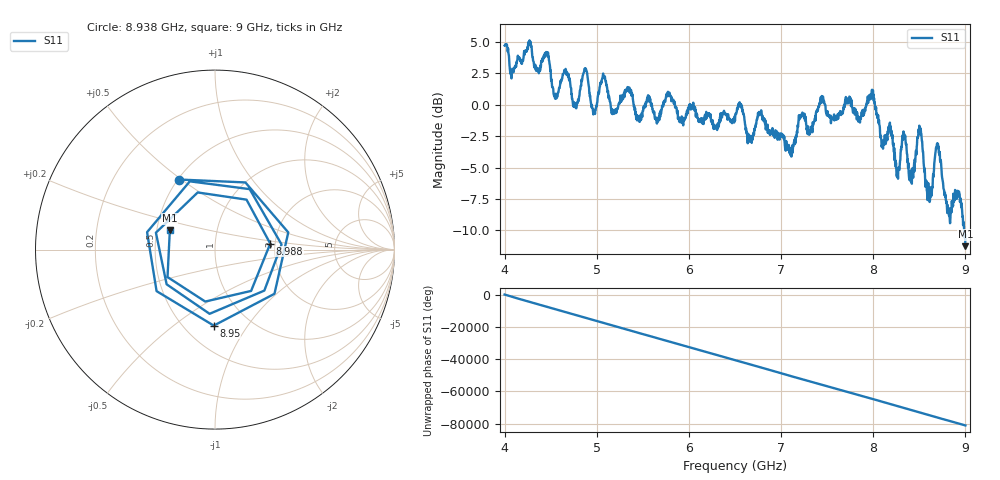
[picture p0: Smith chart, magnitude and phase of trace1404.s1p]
! Created with skrf 1.8.0 (http://scikit-rf.org).
# Hz S RI R 50.0
!freq ReS11 ImS11
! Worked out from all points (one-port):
!   1601 points, 4 GHz to 9 GHz, reference 50 ohm
!   lowest |S11| = -11.3 dB at 9 GHz (marker M1), VSWR 1.75, Z = 29.3 + j6.82 ohm
!   |S11| at or under -10 dB: 8.98661 GHz to end of sweep
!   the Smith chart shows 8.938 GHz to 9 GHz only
!   S11 on the Smith chart (normalised r, x): 8.938 GHz: 0.50, +0.49; 8.95 GHz: 0.69, -0.71; 8.988 GHz: 1.88, +0.14; 9 GHz: 0.59, +0.14
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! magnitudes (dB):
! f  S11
! 4 GHz  4.7
! 4.081 GHz  2.6
! 4.269 GHz  5.1
! 4.466 GHz  4.1
! 4.55 GHz  0.5
! 4.625 GHz  2.1
! 4.762 GHz  -0.1
! 4.872 GHz  2.9
! 4.962 GHz  -0.8
! 5.25 GHz  0.1
! 5.875 GHz  -0.7
! 6.5 GHz  -1.3
! 7.125 GHz  -3.8
! 7.219 GHz  -0.8
! 7.75 GHz  0.5
! 7.988 GHz  1.2
! 8.262 GHz  -5.7
! 8.331 GHz  -2.3
! 8.375 GHz  -4.3
! 8.422 GHz  -5.1
! 8.503 GHz  -1.8
! 8.606 GHz  -7.0
! 8.697 GHz  -3.4
! 8.812 GHz  -8.6
! 8.938 GHz  -7.1
! 8.95 GHz  -7.5
! 8.988 GHz  -10.2
! 9 GHz  -11.3
